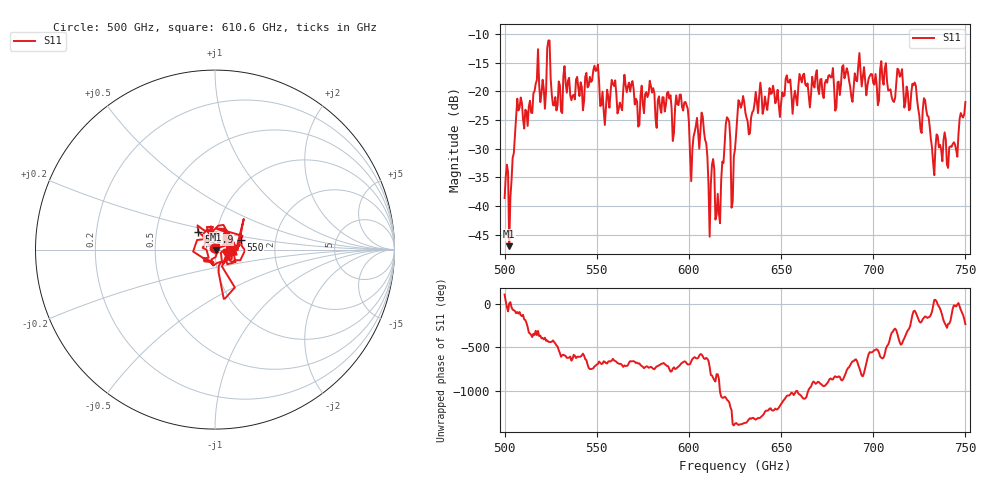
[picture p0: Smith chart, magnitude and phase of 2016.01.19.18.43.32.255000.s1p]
!Created with skrf (http://scikit-rf.org).
# GHz S RI R 50.0
!freq ReS11 ImS11
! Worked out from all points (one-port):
!   401 points, 500 GHz to 750 GHz, reference 50 ohm
!   lowest |S11| = -47.0 dB at 502.5 GHz (marker M1), VSWR 1.01, Z = 50.4 + j0.0261 ohm
!   |S11| at or under -10 dB: start of sweep to end of sweep
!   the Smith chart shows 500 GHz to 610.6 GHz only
!   S11 on the Smith chart (normalised r, x): 500 GHz: 0.99, +0.02; 531.9 GHz: 0.81, +0.16; 550 GHz: 1.32, +0.15; 610.6 GHz: 1.01, +0.03
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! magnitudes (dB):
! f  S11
! 500 GHz  -38.6
! 502.5 GHz  -47.0
! 508.1 GHz  -22.8
! 520.6 GHz  -18.0
! 523.8 GHz  -11.1
! 526.9 GHz  -22.5
! 531.2 GHz  -23.8
! 531.9 GHz  -17.3
! 550 GHz  -16.3
! 553.1 GHz  -20.0
! 562.5 GHz  -21.9
! 593.8 GHz  -22.2
! 601.9 GHz  -30.1
! 608.1 GHz  -26.8
! 610.6 GHz  -36.3
! 615.6 GHz  -37.9
! 620.6 GHz  -24.5
! 623.8 GHz  -39.3
! 625 GHz  -30.1
! 628.1 GHz  -22.9
! 656.2 GHz  -23.9
! 687.5 GHz  -19.2
! 714.4 GHz  -17.4
! 718.8 GHz  -20.2
! 728.8 GHz  -23.2
! 732.5 GHz  -32.4
! 744.4 GHz  -29.3
! 750 GHz  -21.8
